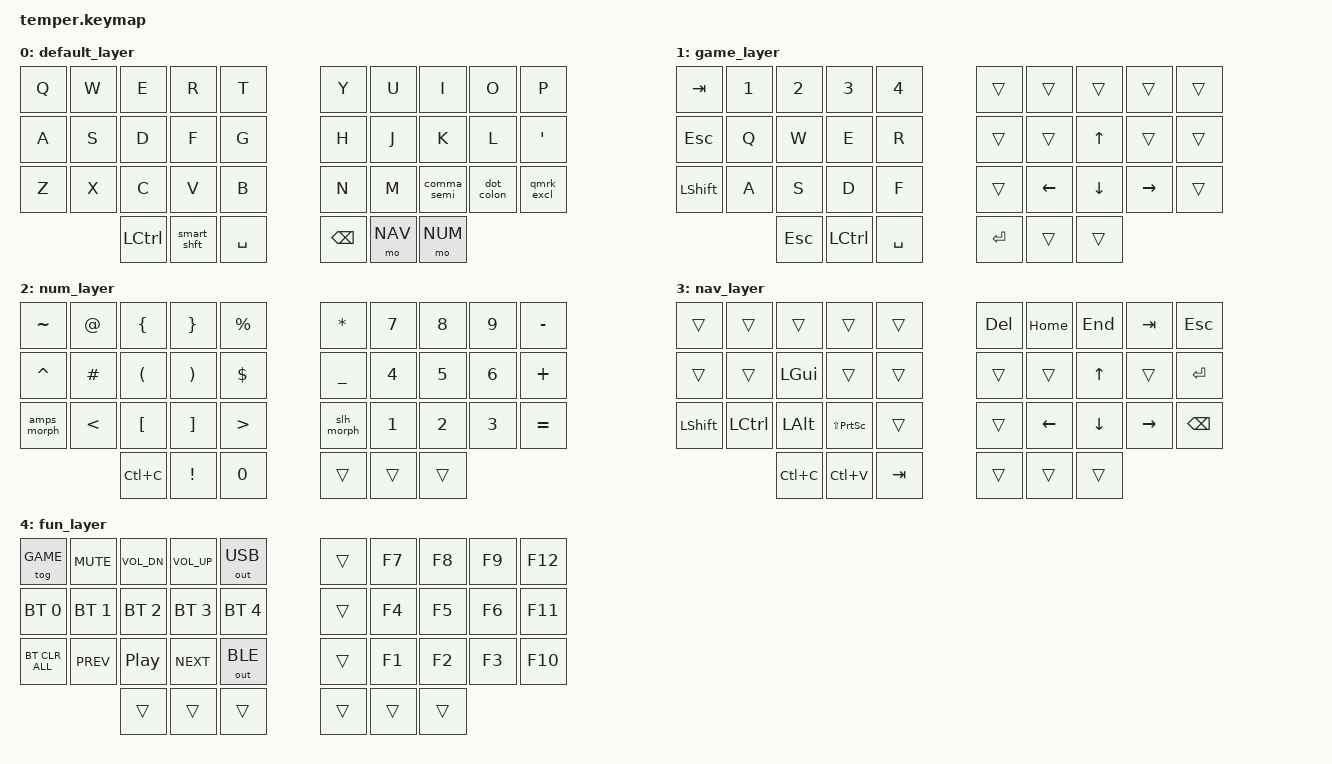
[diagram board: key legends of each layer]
/*
 * Copyright (c) 2020 The ZMK Contributors
 *
 * SPDX-License-Identifier: MIT
 */

#include <behaviors.dtsi>
#include <dt-bindings/zmk/keys.h>
#include <dt-bindings/zmk/bt.h>
#include <dt-bindings/zmk/outputs.h>

#define DEFAULT 0
#define GAME 1
#define NUM 2
#define NAV 3
#define FUN 4

# define ______ &trans

/ {
    conditional_layers {
        compatible = "zmk,conditional-layers";
        tri_layer {
            if-layers = <NUM NAV>;
            then-layer = <FUN>;
        };
    };
    behaviors {
        bspc_del: backspace_delete {
            compatible = "zmk,behavior-mod-morph";
            #binding-cells = <0>;
            bindings = <&kp BACKSPACE>, <&kp DELETE>;
            mods = <(MOD_LSFT|MOD_RSFT)>;
            keep-mods = <(MOD_RSFT)>;
        };
        super_bspc: super_backspace {
            compatible = "zmk,behavior-mod-morph";
            #binding-cells = <0>;
            bindings = <&kp BACKSPACE>, <&kp LA(BACKSPACE)>;
            mods = <(MOD_LSFT|MOD_RSFT)>;
        };
        smart_shft: smart_shift {
            compatible = "zmk,behavior-mod-morph";
            #binding-cells = <0>;
            bindings = <&kp LSHFT>, <&caps_word>;
            mods = <(MOD_LSFT)>;
        };
        comma_semi: comma_semi {
            compatible = "zmk,behavior-mod-morph";
            #binding-cells = <0>;
            bindings = <&kp COMMA>, <&kp SEMI>;
            mods = <(MOD_LSFT)>;
        };
        dot_colon: dot_colon {
            compatible = "zmk,behavior-mod-morph";
            #binding-cells = <0>;
            bindings = <&kp DOT>, <&kp COLON>;
            mods = <(MOD_LSFT)>;
        };
        qmrk_excl: qmrk_excl {
            compatible = "zmk,behavior-mod-morph";
            #binding-cells = <0>;
            bindings = <&kp QMARK>, <&kp EXCL>;
            mods = <(MOD_LSFT)>;
        };
        slh_morph: slh_morph {
            compatible = "zmk,behavior-mod-morph";
            #binding-cells = <0>;
            bindings = <&kp FSLH>, <&kp BSLH>;
            mods = <(MOD_LSFT)>;
        };
        amps_morph: amps_morph {
            compatible = "zmk,behavior-mod-morph";
            #binding-cells = <0>;
            bindings = <&kp AMPS>, <&kp PIPE>;
            mods = <(MOD_LSFT)>;
        };
    };
        keymap {
                compatible = "zmk,keymap";

                default_layer {
                        bindings = <
// ╭─────────────┬─────────────┬─────────────┬─────────────┬─────────────╮   ╭─────────────┬─────────────┬─────────────┬─────────────┬─────────────╮
        &kp Q         &kp W         &kp E         &kp R         &kp T             &kp Y         &kp U         &kp I         &kp O       &kp P   
// ├─────────────┼─────────────┼─────────────┼─────────────┼─────────────┤   ├─────────────┼─────────────┼─────────────┼─────────────┼─────────────┤
        &kp A         &kp S         &kp D         &kp F         &kp G             &kp H         &kp J         &kp K         &kp L         &kp SQT
// ├─────────────┼─────────────┼─────────────┼─────────────┼─────────────┤   ├─────────────┼─────────────┼─────────────┼─────────────┼─────────────┤
        &kp Z         &kp X         &kp C         &kp V         &kp B             &kp N         &kp M      &comma_semi    &dot_colon    &qmrk_excl
// ╰─────────────┴─────────────┼─────────────┼─────────────┼─────────────┤   ├─────────────┼─────────────┼─────────────┼─────────────┴─────────────╯
                                  &kp LCTRL    &smart_shft    &kp SPACE         &kp BSPC       &mo NAV       &mo NUM     
//                             ╰─────────────┴─────────────┴─────────────╯   ╰─────────────┴─────────────┴─────────────╯
                        >;
                };
                game_layer {
                        bindings = <
// ╭─────────────┬─────────────┬─────────────┬─────────────┬─────────────╮   ╭─────────────┬─────────────┬─────────────┬─────────────┬─────────────╮
        &kp TAB       &kp N1        &kp N2        &kp N3        &kp N4             ______       ______        ______        ______        ______  
// ├─────────────┼─────────────┼─────────────┼─────────────┼─────────────┤   ├─────────────┼─────────────┼─────────────┼─────────────┼─────────────┤
       &kp ESC        &kp Q         &kp W         &kp E         &kp R              ______       ______        &kp UP        ______        ______
// ├─────────────┼─────────────┼─────────────┼─────────────┼─────────────┤   ├─────────────┼─────────────┼─────────────┼─────────────┼─────────────┤
       &kp LSHFT      &kp A         &kp S         &kp D         &kp F              ______      &kp LEFT      &kp DOWN     &kp RIGHT       ______
// ╰─────────────┴─────────────┼─────────────┼─────────────┼─────────────┤   ├─────────────┼─────────────┼─────────────┼─────────────┴─────────────╯
                                    &kp ESC     &kp LCTRL     &kp SPACE          &kp RET        ______        ______
//                             ╰─────────────┴─────────────┴─────────────╯   ╰─────────────┴─────────────┴─────────────╯
                        >;
                };
                num_layer {
                        bindings = <
// ╭─────────────┬─────────────┬─────────────┬─────────────┬─────────────╮   ╭─────────────┬─────────────┬─────────────┬─────────────┬─────────────╮
      &kp TILDE       &kp AT       &kp LBRC      &kp RBRC     &kp PRCNT          &kp STAR       &kp N7       &kp N8       &kp N9        &kp MINUS
// ├─────────────┼─────────────┼─────────────┼─────────────┼─────────────┤   ├─────────────┼─────────────┼─────────────┼─────────────┼─────────────┤
      &kp CARET      &kp HASH      &kp LPAR      &kp RPAR      &kp DLLR         &kp UNDER       &kp N4       &kp N5       &kp N6        &kp PLUS
// ├─────────────┼─────────────┼─────────────┼─────────────┼─────────────┤   ├─────────────┼─────────────┼─────────────┼─────────────┼─────────────┤
      &amps_morph     &kp LT       &kp LBKT      &kp RBKT       &kp GT          &slh_morph      &kp N1       &kp N2       &kp N3        &kp EQUAL
// ╰─────────────┴─────────────┼─────────────┼─────────────┼─────────────┤   ├─────────────┼─────────────┼─────────────┼─────────────┴─────────────╯
                                  &kp LC(C)      &kp EXCL      &kp N0            ______        ______        ______
//                             ╰─────────────┴─────────────┴─────────────╯   ╰─────────────┴─────────────┴─────────────╯
                        >;
                };

                nav_layer {
                        bindings = <
// ╭─────────────┬─────────────┬─────────────┬─────────────┬─────────────╮   ╭─────────────┬─────────────┬─────────────┬─────────────┬─────────────╮
        ______        ______        ______        ______        ______           &kp DEL       &kp HOME      &kp END       &kp TAB       &kp ESC
// ├─────────────┼─────────────┼─────────────┼─────────────┼─────────────┤   ├─────────────┼─────────────┼─────────────┼─────────────┼─────────────┤
        ______        ______       &kp LGUI       ______        ______            ______        ______       &kp UP         ______        &kp RET
// ├─────────────┼─────────────┼─────────────┼─────────────┼─────────────┤   ├─────────────┼─────────────┼─────────────┼─────────────┼─────────────┤
      &kp LSHFT     &kp LCTRL      &kp LALT   &kp LS(PSCRN)     ______            ______       &kp LEFT     &kp DOWN      &kp RIGHT      &kp BSPC
// ╰─────────────┴─────────────┼─────────────┼─────────────┼─────────────┤   ├─────────────┼─────────────┼─────────────┼─────────────┴─────────────╯
                                  &kp LC(C)     &kp LC(V)      &kp TAB           ______        ______        ______
//                             ╰─────────────┴─────────────┴─────────────╯   ╰─────────────┴─────────────┴─────────────╯
                        >;
                };

                fun_layer {
                        bindings = <
// ╭─────────────┬─────────────┬─────────────┬─────────────┬─────────────╮   ╭─────────────┬─────────────┬─────────────┬─────────────┬─────────────╮
      &tog GAME    &kp K_MUTE    &kp C_VOL_DN  &kp C_VOL_UP  &out OUT_USB         ______        &kp F7        &kp F8        &kp F9       &kp F12
// ├─────────────┼─────────────┼─────────────┼─────────────┼─────────────┤   ├─────────────┼─────────────┼─────────────┼─────────────┼─────────────┤
     &bt BT_SEL 0  &bt BT_SEL 1  &bt BT_SEL 2  &bt BT_SEL 3  &bt BT_SEL 4         ______        &kp F4        &kp F5        &kp F6       &kp F11
// ├─────────────┼─────────────┼─────────────┼─────────────┼─────────────┤   ├─────────────┼─────────────┼─────────────┼─────────────┼─────────────┤
    &bt BT_CLR_ALL  &kp C_PREV     &kp C_PP     &kp C_NEXT   &out OUT_BLE         ______        &kp F1        &kp F2        &kp F3       &kp F10
// ╰─────────────┴─────────────┼─────────────┼─────────────┼─────────────┤   ├─────────────┼─────────────┼─────────────┼─────────────┴─────────────╯
                                    ______        ______        ______            ______        ______        ______
//                             ╰─────────────┴─────────────┴─────────────╯   ╰─────────────┴─────────────┴─────────────╯
                        >;
                };
        };
};
